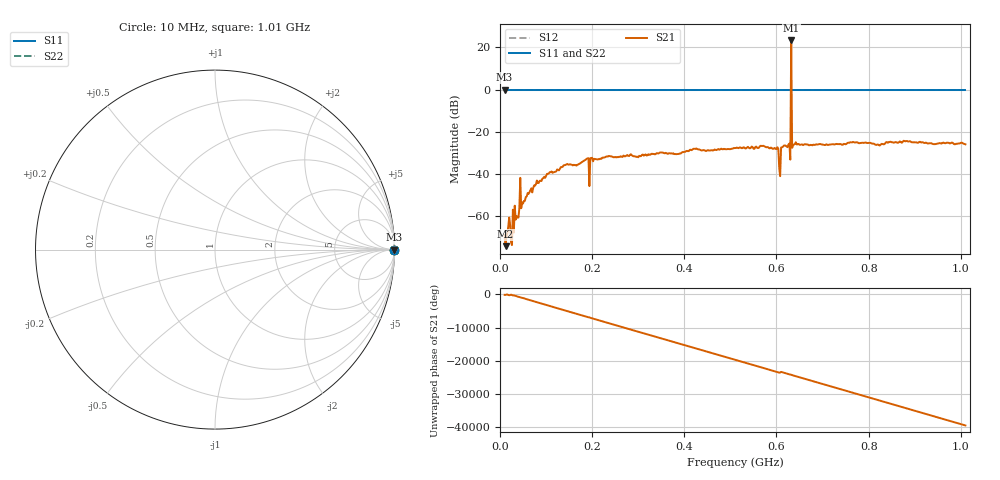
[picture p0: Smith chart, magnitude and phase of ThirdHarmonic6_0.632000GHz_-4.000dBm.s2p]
! 8/15/2025 8:50:56 PM
! C:\ANRITSUVNA\TEMP\TEMP.S2P
! CHANNEL.1
! TR.MEASUREMENT
! RAW.DATA
! RF.CORRECTION.OFF
! AVERAGING.OFF
! IF.BANDWIDTH: 5KHZ
! SWEEPTYPE:  FREQ.SWEEP(Linear)
! Reference Plane Port Info
! PORT:  PORT1  PORT2
! DISTANCE:  0  m  0  m
! TIME:  0  s  0  s
! PHASE.OFFSET:  0  deg.  0  deg.
! LOSS:  0  dB  0  dB
! REF.LOSS:  0  dB  0  dB
! REF.FREQ:  0  Hz  0  Hz
! Power Info
! POWER:  -20  dBm  -20  dBm
! EFF.POWER:  -20  dBm  -20  dBm
! SOURCE.ATTEN:  0  dB  0  dB
! TEST.ATTEN:  0  dB  0  dB
# GHZ S RI R 50.0
! FREQ.GHZ  S11RE  S11IM  S21RE  S21IM  S12RE  S12IM  S22RE  S22IM
!; PortSelection: Port_12
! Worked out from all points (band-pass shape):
!   501 points, 10 MHz to 1.01 GHz, reference 50 ohm
!   highest |S21| = 23.21 dB at 632 MHz (marker M1); lowest = -74.0 dB at 12 MHz (marker M2)
!   |S21| within 3 dB of the highest: 631.8935 MHz to 632.1181 MHz (224.7 kHz wide, 0.0355 % of centre)
!   lowest |S11| = 0.0 dB at 10 MHz (marker M3)
!   |S11| at or under -10 dB: nowhere
!   |S22| runs from 0.0 to 0.0 dB; largest |S21 - S12| = 14
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0.01  1 0  -0.00012 -0.000342  1 0  1 0
0.012  1 0  -0.000153 -0.000126  1 0  1 0
0.018  1 0  -0.00055 -0.000209  1 0  1 0
0.026  1 0  -0.000185 -9.99e-05  1 0  1 0
0.046  1 0  -0.00133 0.00082  1 0  1 0
0.05  1 0  0.00194 -0.000572  1 0  1 0
0.078  1 0  0.00141 -0.00561  1 0  1 0
0.178  1 0  -0.019 -0.00363  1 0  1 0
0.344  1 0  0.0294 -0.00895  1 0  1 0
0.51  1 0  -0.037 0.0184  1 0  1 0
0.6  1 0  -0.0296 0.0257  1 0  1 0
0.604  1 0  0.0368 -0.0157  1 0  1 0
0.61  1 0  -0.00822 0.0417  1 0  1 0
0.614  1 0  0.0228 -0.0381  1 0  1 0
0.626  1 0  -0.0501 0.003  1 0  1 0
0.628  1 0  -0.00497 0.0525  1 0  1 0
0.632  1 0  12.6 -7.11  1 0  1 0
0.636  1 0  -0.0308 0.0383  1 0  1 0
0.638  1 0  0.0328 0.0377  1 0  1 0
0.678  1 0  -0.0284 -0.0387  1 0  1 0
0.844  1 0  0.0464 0.0333  1 0  1 0
1.01  1 0  -0.0507 -0.00319  1 0  1 0
